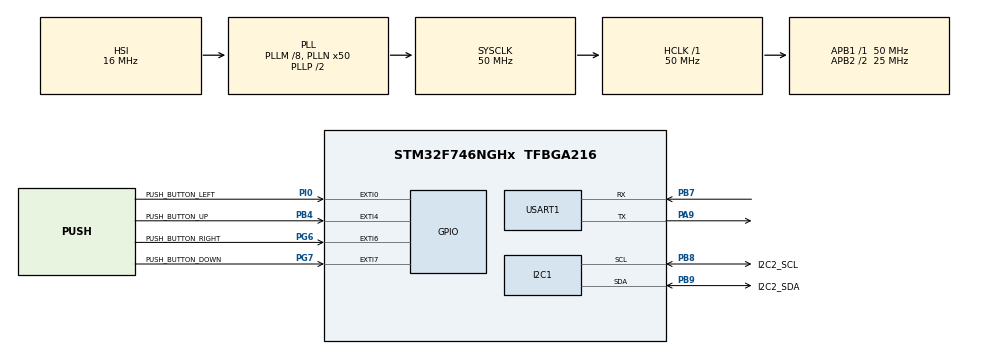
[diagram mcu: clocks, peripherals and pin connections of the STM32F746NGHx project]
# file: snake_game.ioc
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FREERTOS.Tasks01=defaultTask,0,128,StartDefaultTask,Default,NULL,Dynamic,NULL,NULL;displayDot,2,128,startDisplayDot,Default,NULL,Dynamic,NULL,NULL;moveDot,2,128,startMoveDot,Default,NULL,Dynamic,NULL,NULL;init,3,128,startInit,Default,NULL,Dynamic,NULL,NULL;gameOver,-3,128,startGameOver,Default,NULL,Dynamic,NULL,NULL;BlinkFood,2,128,StartBlinkFood,Default,NULL,Dynamic,NULL,NULL
I2C1.Timing=0x00C0EAFF
Mcu.Family=STM32F7
Mcu.Name=STM32F746NGHx
Mcu.Package=TFBGA216
NVIC.EXTI0_IRQn=true\:6\:0\:true\:false\:true\:true\:true\:true
NVIC.EXTI4_IRQn=true\:6\:0\:true\:false\:true\:true\:true\:true
NVIC.EXTI9_5_IRQn=true\:6\:0\:true\:false\:true\:true\:true\:true
NVIC.PriorityGroup=NVIC_PRIORITYGROUP_4
NVIC.TIM8_TRG_COM_TIM14_IRQn=true\:0\:0\:false\:false\:true\:false\:false\:true
NVIC.TimeBase=TIM8_TRG_COM_TIM14_IRQn
NVIC.TimeBaseIP=TIM14
PA13.Mode=Serial_Wire
PA13.Signal=SYS_JTMS-SWDIO
PA14.Mode=Serial_Wire
PA14.Signal=SYS_JTCK-SWCLK
PA9.Mode=Asynchronous
PA9.Signal=USART1_TX
PB4.GPIO_Label=PUSH_BUTTON_UP
PB4.GPIO_PuPd=GPIO_PULLDOWN
PB4.Signal=GPXTI4
PB7.Mode=Asynchronous
PB7.Signal=USART1_RX
PB8.GPIO_Label=I2C2_SCL
PB8.Mode=I2C
PB8.Signal=I2C1_SCL
PB9.GPIO_Label=I2C2_SDA
PB9.Mode=I2C
PB9.Signal=I2C1_SDA
PC14/OSC32_IN.Mode=LSE-External-Clock-Source
PC14/OSC32_IN.Signal=RCC_OSC32_IN
PC15/OSC32_OUT.Mode=LSE-External-Clock-Source
PC15/OSC32_OUT.Signal=RCC_OSC32_OUT
PG6.GPIO_Label=PUSH_BUTTON_RIGHT
PG6.GPIO_PuPd=GPIO_PULLDOWN
PG6.Signal=GPXTI6
PG7.GPIO_Label=PUSH_BUTTON_DOWN
PG7.GPIO_PuPd=GPIO_PULLDOWN
PG7.Signal=GPXTI7
PH0/OSC_IN.Mode=HSE-External-Oscillator
PH0/OSC_IN.Signal=RCC_OSC_IN
PH1/OSC_OUT.Mode=HSE-External-Oscillator
PH1/OSC_OUT.Signal=RCC_OSC_OUT
PI0.GPIO_Label=PUSH_BUTTON_LEFT
PI0.GPIO_PuPd=GPIO_PULLDOWN
PI0.Signal=GPXTI0
ProjectManager.HeapSize=0x200
ProjectManager.StackSize=0x400
ProjectManager.TargetToolchain=STM32CubeIDE
RCC.AHBFreq_Value=50000000
RCC.APB1Freq_Value=50000000
RCC.APB1TimFreq_Value=50000000
RCC.APB2CLKDivider=RCC_HCLK_DIV2
RCC.APB2Freq_Value=25000000
RCC.APB2TimFreq_Value=50000000
RCC.CortexFreq_Value=50000000
RCC.HCLKFreq_Value=50000000
RCC.HSE_VALUE=25000000
RCC.HSI_VALUE=16000000
RCC.LSE_VALUE=32768
RCC.PLLM=8
RCC.PLLN=50
RCC.PLLQ=3
RCC.PLLSourceVirtual=RCC_PLLSOURCE_HSI
RCC.SYSCLKFreq_VALUE=50000000
RCC.SYSCLKSource=RCC_SYSCLKSOURCE_PLLCLK
RCC.USBFreq_Value=33333333.333333332
RCC.VCOOutputFreq_Value=100000000
USART1.VirtualMode-Asynchronous=VM_ASYNC
VP_FREERTOS_VS_CMSIS_V1.Mode=CMSIS_V1
VP_RNG_VS_RNG.Mode=RNG_Activate
VP_SYS_VS_tim14.Mode=TIM14
board=STM32F746G-DISCO

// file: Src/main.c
/* USER CODE BEGIN Header */
/**
  ******************************************************************************
  * @file           : main.c
  * @brief          : Main program body
  ******************************************************************************
  * @attention
  *
  * <h2><center>&copy; Copyright (c) 2019 STMicroelectronics.
  * All rights reserved.</center></h2>
  *
  * This software component is licensed by ST under BSD 3-Clause license,
  * the "License"; You may not use this file except in compliance with the
  * License. You may obtain a copy of the License at:
  *                        opensource.org/licenses/BSD-3-Clause
  *
  ******************************************************************************
  */
/* USER CODE END Header */

#include "main.h"
#include "cmsis_os.h"
#include "i2c.h"
#include "rng.h"
#include "usart.h"
#include "gpio.h"

/* USER CODE BEGIN Includes */
#include "declare.h"
#include "linked_list.h"
/* USER CODE END Includes */

/* USER CODE BEGIN PV */
I2C_HandleTypeDef hi2c1;
extern osThreadId displayDotHandle;
extern osThreadId moveDotHandle;
extern osThreadId initHandle;
/* USER CODE END PV */

void SystemClock_Config(void);
void MX_FREERTOS_Init(void);

/* USER CODE BEGIN 0 */
void clear_led_matrix(){
  uint8_t buff[2];

  for(int i=0; i<16; i++)
  {
	buff[0] = i;
	buff[1] = 0x00;
	HAL_I2C_Master_Transmit(&hi2c1, LEDMATRIX_ADDRESS, buff, 2, 100);
  }
}

/* USER CODE END 0 */

int main(void)
{

  /* MCU Configuration--------------------------------------------------------*/

  /* Reset of all peripherals, Initializes the Flash interface and the Systick. */
  HAL_Init();

  /* USER CODE BEGIN Init */
  uint8_t init1 = 0b00100001;
  uint8_t init2 = 0b10000001;
  /* USER CODE END Init */

  /* Configure the system clock */
  SystemClock_Config();

  /* Initialize all configured peripherals */
  MX_GPIO_Init();
  MX_I2C1_Init();
  MX_RNG_Init();
  MX_USART1_UART_Init();
  /* USER CODE BEGIN 2 */
  uint8_t line[8] = {0x00, 0x00, 0x00, 0x00, 0x00, 0x00, 0x00, 0x00};
  HAL_I2C_Master_Transmit(&hi2c1, LEDMATRIX_ADDRESS, &init1, 1, 100);
  HAL_I2C_Master_Transmit(&hi2c1, LEDMATRIX_ADDRESS, &init2, 1, 100);
  snake_grow = 0;
  /* USER CODE END 2 */

  /* Call init function for freertos objects (in freertos.c) */
  MX_FREERTOS_Init();

  /* Start scheduler */
  osKernelStart();

  /* We should never get here as control is now taken by the scheduler */

  /* Infinite loop */
  while (1)
  {

  }
}

void SystemClock_Config(void)
{
  RCC_OscInitTypeDef RCC_OscInitStruct = {0};
  RCC_ClkInitTypeDef RCC_ClkInitStruct = {0};
  RCC_PeriphCLKInitTypeDef PeriphClkInitStruct = {0};

  /** Configure the main internal regulator output voltage
  */
  __HAL_RCC_PWR_CLK_ENABLE();
  __HAL_PWR_VOLTAGESCALING_CONFIG(PWR_REGULATOR_VOLTAGE_SCALE3);
  /** Initializes the CPU, AHB and APB busses clocks
  */
  RCC_OscInitStruct.OscillatorType = RCC_OSCILLATORTYPE_HSI;
  RCC_OscInitStruct.HSIState = RCC_HSI_ON;
  RCC_OscInitStruct.HSICalibrationValue = RCC_HSICALIBRATION_DEFAULT;
  RCC_OscInitStruct.PLL.PLLState = RCC_PLL_ON;
  RCC_OscInitStruct.PLL.PLLSource = RCC_PLLSOURCE_HSI;
  RCC_OscInitStruct.PLL.PLLM = 8;
  RCC_OscInitStruct.PLL.PLLN = 50;
  RCC_OscInitStruct.PLL.PLLP = RCC_PLLP_DIV2;
  RCC_OscInitStruct.PLL.PLLQ = 3;
  if (HAL_RCC_OscConfig(&RCC_OscInitStruct) != HAL_OK)
  {
    Error_Handler();
  }
  /** Activate the Over-Drive mode
  */
  if (HAL_PWREx_EnableOverDrive() != HAL_OK)
  {
    Error_Handler();
  }
  /** Initializes the CPU, AHB and APB busses clocks
  */
  RCC_ClkInitStruct.ClockType = RCC_CLOCKTYPE_HCLK|RCC_CLOCKTYPE_SYSCLK
                              |RCC_CLOCKTYPE_PCLK1|RCC_CLOCKTYPE_PCLK2;
  RCC_ClkInitStruct.SYSCLKSource = RCC_SYSCLKSOURCE_PLLCLK;
  RCC_ClkInitStruct.AHBCLKDivider = RCC_SYSCLK_DIV1;
  RCC_ClkInitStruct.APB1CLKDivider = RCC_HCLK_DIV1;
  RCC_ClkInitStruct.APB2CLKDivider = RCC_HCLK_DIV2;

  if (HAL_RCC_ClockConfig(&RCC_ClkInitStruct, FLASH_LATENCY_1) != HAL_OK)
  {
    Error_Handler();
  }
  PeriphClkInitStruct.PeriphClockSelection = RCC_PERIPHCLK_USART1|RCC_PERIPHCLK_I2C1
                              |RCC_PERIPHCLK_CLK48;
  PeriphClkInitStruct.Usart1ClockSelection = RCC_USART1CLKSOURCE_PCLK2;
  PeriphClkInitStruct.I2c1ClockSelection = RCC_I2C1CLKSOURCE_PCLK1;
  PeriphClkInitStruct.Clk48ClockSelection = RCC_CLK48SOURCE_PLL;
  if (HAL_RCCEx_PeriphCLKConfig(&PeriphClkInitStruct) != HAL_OK)
  {
    Error_Handler();
  }
}

/* USER CODE BEGIN 4 */
void HAL_GPIO_EXTI_Callback(uint16_t GPIO_Pin)
{
  if(game_state == STARTING){
	if(GPIO_Pin == PUSH_BUTTON_RIGHT_Pin || GPIO_Pin == PUSH_BUTTON_LEFT_Pin || GPIO_Pin == PUSH_BUTTON_DOWN_Pin || GPIO_Pin == PUSH_BUTTON_UP_Pin){
	  osThreadResume(moveDotHandle);
	  game_state = RUN;
    }
  }

  if(game_state == RUN){
    if(GPIO_Pin == PUSH_BUTTON_RIGHT_Pin && direction != LEFT){
	  direction = RIGHT;
    }
    if(GPIO_Pin == PUSH_BUTTON_LEFT_Pin && direction != RIGHT){
	  direction = LEFT;
    }
    if(GPIO_Pin == PUSH_BUTTON_UP_Pin && direction != DOWN){
	  direction = UP;
    }
    if(GPIO_Pin == PUSH_BUTTON_DOWN_Pin && direction != UP){
	  direction = DOWN;
    }
  }
}

/* USER CODE END 4 */

void HAL_TIM_PeriodElapsedCallback(TIM_HandleTypeDef *htim)
{
  if (htim->Instance == TIM14) {
    HAL_IncTick();
  }
}

void Error_Handler(void)
{
}

/************************ (C) COPYRIGHT STMicroelectronics *****END OF FILE****/

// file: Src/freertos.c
/* USER CODE BEGIN Header */
/**
  ******************************************************************************
  * File Name          : freertos.c
  * Description        : Code for freertos applications
  ******************************************************************************
  * @attention
  *
  * <h2><center>&copy; Copyright (c) 2019 STMicroelectronics.
  * All rights reserved.</center></h2>
  *
  * This software component is licensed by ST under Ultimate Liberty license
  * SLA0044, the "License"; You may not use this file except in compliance with
  * the License. You may obtain a copy of the License at:
  *                             www.st.com/SLA0044
  *
  ******************************************************************************
  */
/* USER CODE END Header */

#include "FreeRTOS.h"
#include "task.h"
#include "main.h"
#include "cmsis_os.h"

/* USER CODE BEGIN Includes */
#include "declare.h"
#include "i2c.h"
#include "linked_list.h"
#include "rng.h"
/* USER CODE END Includes */

osThreadId defaultTaskHandle;
osThreadId displayDotHandle;
osThreadId moveDotHandle;
osThreadId initHandle;
osThreadId gameOverHandle;
osThreadId BlinkFoodHandle;

void StartDefaultTask(void const * argument);
void startDisplayDot(void const * argument);
void startMoveDot(void const * argument);
void startInit(void const * argument);
void startGameOver(void const * argument);
void StartBlinkFood(void const * argument);

void MX_FREERTOS_Init(void); /* (MISRA C 2004 rule 8.1) */

void MX_FREERTOS_Init(void) {

  /* Create the thread(s) */
  /* definition and creation of defaultTask */
  osThreadDef(defaultTask, StartDefaultTask, osPriorityNormal, 0, 128);
  defaultTaskHandle = osThreadCreate(osThread(defaultTask), NULL);

  /* definition and creation of displayDot */
  osThreadDef(displayDot, startDisplayDot, osPriorityHigh, 0, 128);
  displayDotHandle = osThreadCreate(osThread(displayDot), NULL);

  /* definition and creation of moveDot */
  osThreadDef(moveDot, startMoveDot, osPriorityHigh, 0, 128);
  moveDotHandle = osThreadCreate(osThread(moveDot), NULL);

  /* definition and creation of init */
  osThreadDef(init, startInit, osPriorityRealtime, 0, 128);
  initHandle = osThreadCreate(osThread(init), NULL);

  /* definition and creation of gameOver */
  osThreadDef(gameOver, startGameOver, osPriorityIdle, 0, 128);
  gameOverHandle = osThreadCreate(osThread(gameOver), NULL);

  /* definition and creation of BlinkFood */
  osThreadDef(BlinkFood, StartBlinkFood, osPriorityHigh, 0, 128);
  BlinkFoodHandle = osThreadCreate(osThread(BlinkFood), NULL);

}

void StartDefaultTask(void const * argument)
{

  for(;;)
  {
    osDelay(1);
  }
}

void startDisplayDot(void const * argument)
{
  /* USER CODE BEGIN startDisplayDot */
  /* Infinite loop */
  for(;;)
  {
	clear_led_matrix();
	uint8_t buff[2];
	for(int i=0; i<8; i++){
	  buff[0] = i*2;
	  buff[1] = (column[i] >> 1) | (column[i] << 7);
	  HAL_I2C_Master_Transmit(&hi2c1, LEDMATRIX_ADDRESS, buff, 2, 100);
	}
    osSignalWait(1, osWaitForever);
  }
  /* USER CODE END startDisplayDot */
}

void startMoveDot(void const * argument)
{
  /* USER CODE BEGIN startMoveDot */
  /* Infinite loop */
  for(;;)
  {
	osDelay(1000);
	uint8_t x = linked_list_get_x(snake, 0);
	uint8_t y = linked_list_get_y(snake, 0);
	if (direction == RIGHT){
	  if(linked_list_get_x(snake, 0) >= 7){
		osThreadResume(gameOverHandle);
	  }else{
		x = linked_list_get_x(snake, 0) + 1;
	  }
	}else if (direction == LEFT){
	  if(linked_list_get_x(snake, 0) <= 0){
		osThreadResume(gameOverHandle);
	  }else{
		x = linked_list_get_x(snake, 0) - 1;
	  }
	}else if (direction == UP){
	  if(linked_list_get_y(snake, 0) <= 0){
		osThreadResume(gameOverHandle);
	  }else{
		y = linked_list_get_y(snake, 0) - 1;
	  }
	}else if (direction == DOWN){
	  if(linked_list_get_y(snake, 0) >= 7){
		osThreadResume(gameOverHandle);
	  }else{
		y = linked_list_get_y(snake, 0) + 1;
	  }
	}
	coord_t data = {x, y};

	if(snake_grow == 0){
	  deleted = linked_list_pop_back(&snake);
	}else{
	  snake_grow = 0;
	}

	linked_list_push_front(&snake, data);

	if(data.x == food_x && data.y == food_y){
	  //mutex wait
	  do{
	    food_x = HAL_RNG_GetRandomNumber(&hrng) % LEDMATRIX_X_SIZE;
	    food_y = HAL_RNG_GetRandomNumber(&hrng) % LEDMATRIX_Y_SIZE;

	  }while(linked_list_search(snake, food_x, food_y));
	  //mutex release
	  column[food_x] |= 1 << (7 - food_y);
	  ++players_score;
	  snake_grow = 1;
	}

	for(int i = 0; i < 8; ++i){
	  column[i] = 0;
	}

	for(int i = 0; i < linked_list_size(snake); ++i){
	  column[linked_list_get_x(snake, i)] |= 1 << (7 - (int)linked_list_get_y(snake, i));
	}
	column[food_x] |= 1 << (7 - food_y);
	osSignalSet(displayDotHandle, 1);
	size = linked_list_size(snake);
  }
  /* USER CODE END startMoveDot */
}

void startInit(void const * argument)
{
  /* USER CODE BEGIN startInit */
  /* Infinite loop */

  for(;;)
  {
	snake = linked_list_create();

	coord_t snake_head = {2, 0};
	linked_list_push_back(&snake, snake_head);
	coord_t snake_1 = {1, 0};
	linked_list_push_back(&snake, snake_1);
	coord_t snake_2 = {0, 0};
	linked_list_push_back(&snake, snake_2);
	direction = RIGHT;
	for(int i = 0; i<8; ++i){
	  column[i] = 0;
	}
	for(int i = 0; i < linked_list_size(snake); ++i){
	  column[linked_list_get_x(snake, i)] |= 1 << (7 - linked_list_get_y(snake, i));
	}
	//mutex wait
	do{
	  food_x = HAL_RNG_GetRandomNumber(&hrng) % LEDMATRIX_X_SIZE;
	  food_y = HAL_RNG_GetRandomNumber(&hrng) % LEDMATRIX_Y_SIZE;
	}while(linked_list_search(snake, food_x, food_y));
	column[food_x] |= 1 << (7 - food_y);
    //mutex release
	game_state = STARTING;
    players_score = 0;
    osThreadSuspend(gameOverHandle);
    osThreadSuspend(moveDotHandle);
    osDelay(100);

    osSignalSet(displayDotHandle, 1);

    osThreadSuspend(NULL);
  }

  /* USER CODE END startInit */
}

void startGameOver(void const * argument)
{
  /* USER CODE BEGIN startGameOver */
  /* Infinite loop */
  for(;;)
  {
	osThreadSuspend(moveDotHandle);
	game_state = GAME_OVER;
	column[0] = 0x01;
	column[1] = 0x63;
	column[2] = 0x66;
	column[3] = 0x04;
	column[4] = 0x04;
	column[5] = 0x66;
	column[6] = 0x63;
	column[7] = 0x01;
	osSignalSet(displayDotHandle, 1);
	osDelay(3000);
    osThreadResume(initHandle);

  }
  /* USER CODE END startGameOver */
}

void StartBlinkFood(void const * argument)
{
  /* USER CODE BEGIN StartBlinkFood */
  /* Infinite loop */
  for(;;)
  {
	if(game_state == RUN){
	  column[food_x] |= 1 << (7 - food_y);
	  osSignalSet(displayDotHandle, 1);
	  osDelay(150);
	  column[food_x] &= ~(1 << (7 - food_y));
	  osSignalSet(displayDotHandle, 1);
	  osDelay(150);
	}else if(game_state == STARTING){
	  column[food_x] |= 1 << (7 - food_y);
	}
  }
  /* USER CODE END StartBlinkFood */
}

/************************ (C) COPYRIGHT STMicroelectronics *****END OF FILE****/
